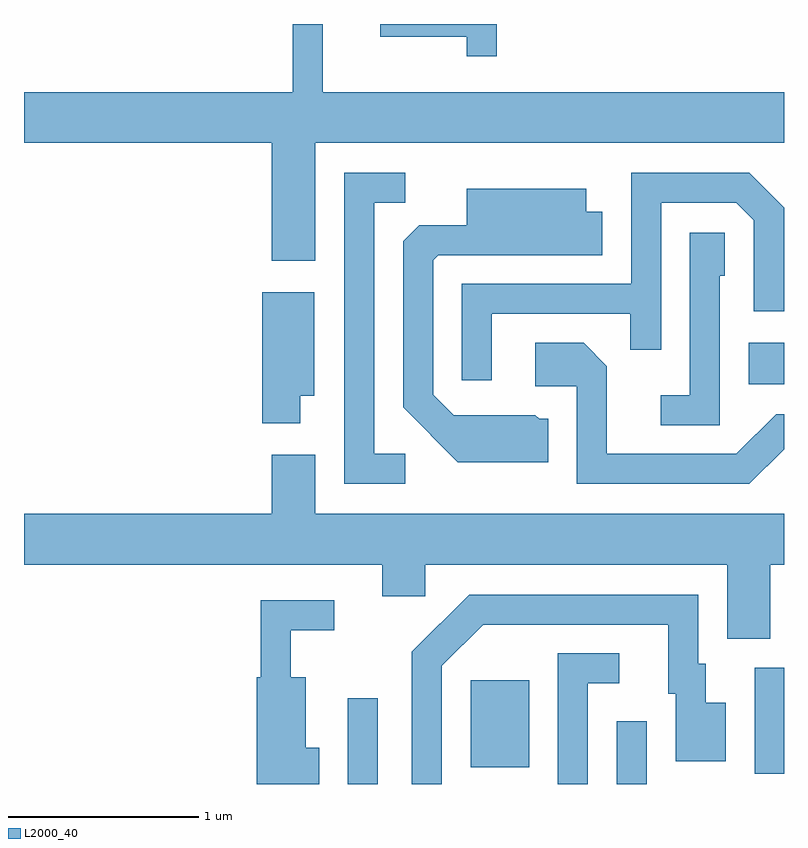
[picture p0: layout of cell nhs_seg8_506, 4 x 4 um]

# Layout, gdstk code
import gdstk
lib = gdstk.Library(unit=1e-6, precision=1e-09)
def R(c, l, rs):  # rectangles x0, y0, x1, y1
    for r in rs: c.add(gdstk.rectangle(r[:2], r[2:], *l))
def P(c, l, *ps):  # polygons
    for p in ps: c.add(gdstk.Polygon(p, *l))
L2000_40 = (2000, 40)

nhs_seg8_506 = lib.new_cell('nhs_seg8_506')
R(nhs_seg8_506, L2000_40, [(201.316,1866.342,201.474,1866.793), (202.731,1866.342,202.889,1866.673), (203.456,1866.396,203.611,1866.954), (201.961,1866.431,202.269,1866.889), (203.426,1868.446,203.611,1868.664)])
P(nhs_seg8_506, L2000_40, [(201.144,1869.716),(203.611,1869.716),(203.611,1869.984),(201.184,1869.984),(201.184,1870.342),(201.026,1870.342),(201.026,1869.984),(199.611,1869.984),(199.611,1869.716),(200.916,1869.716),(200.916,1869.096),(201.144,1869.096)],
  [(202.099,1870.342),(201.486,1870.342),(201.486,1870.276),(201.941,1870.276),(201.941,1870.173),(202.099,1870.173)],
  [(202.074,1868.816),(202.801,1868.816),(202.801,1868.628),(202.964,1868.628),(202.964,1869.401),(203.359,1869.401),(203.451,1869.309),(203.451,1868.831),(203.611,1868.831),(203.611,1869.375),(203.427,1869.559),(202.806,1869.559),(202.806,1868.974),(201.916,1868.974),(201.916,1868.468),(202.074,1868.468)],
  [(201.618,1868.079),(201.454,1868.079),(201.454,1869.401),(201.618,1869.401),(201.618,1869.559),(201.296,1869.559),(201.296,1867.921),(201.618,1867.921)],
  [(202.369,1868.264),(202.322,1868.264),(202.302,1868.284),(201.872,1868.284),(201.764,1868.392),(201.764,1869.099),(201.792,1869.126),(202.654,1869.126),(202.654,1869.354),(202.569,1869.354),(202.569,1869.474),(201.941,1869.474),(201.941,1869.284),(201.692,1869.284),(201.606,1869.199),(201.606,1868.324),(201.894,1868.036),(202.369,1868.036)],
  [(203.274,1869.016),(203.299,1869.016),(203.299,1869.244),(203.116,1869.244),(203.116,1868.389),(202.963,1868.389),(202.963,1868.231),(203.274,1868.231)],
  [(201.064,1868.386),(201.139,1868.386),(201.139,1868.929),(200.866,1868.929),(200.866,1868.241),(201.064,1868.241)],
  [(203.611,1868.105),(203.611,1868.289),(203.569,1868.289),(203.359,1868.079),(202.679,1868.079),(202.679,1868.542),(202.557,1868.664),(202.301,1868.664),(202.301,1868.436),(202.521,1868.436),(202.521,1867.921),(203.427,1867.921)],
  [(203.539,1867.496),(203.611,1867.496),(203.611,1867.764),(201.144,1867.764),(201.144,1868.074),(200.916,1868.074),(200.916,1867.764),(199.611,1867.764),(199.611,1867.496),(201.496,1867.496),(201.496,1867.331),(201.724,1867.331),(201.724,1867.496),(203.311,1867.496),(203.311,1867.106),(203.539,1867.106)],
  [(201.809,1866.964),(202.027,1867.181),(203.001,1867.181),(203.001,1866.816),(203.041,1866.816),(203.041,1866.461),(203.304,1866.461),(203.304,1866.769),(203.199,1866.769),(203.199,1866.974),(203.159,1866.974),(203.159,1867.339),(201.954,1867.339),(201.651,1867.037),(201.651,1866.342),(201.809,1866.342)],
  [(201.164,1866.534),(201.094,1866.534),(201.094,1866.904),(201.014,1866.904),(201.014,1867.151),(201.243,1867.151),(201.243,1867.309),(200.856,1867.309),(200.856,1866.904),(200.836,1866.904),(200.836,1866.342),(201.164,1866.342)],
  [(202.579,1866.871),(202.743,1866.871),(202.743,1867.029),(202.421,1867.029),(202.421,1866.342),(202.579,1866.342)])

lib.write_gds('nhs_seg8_506.gds')
